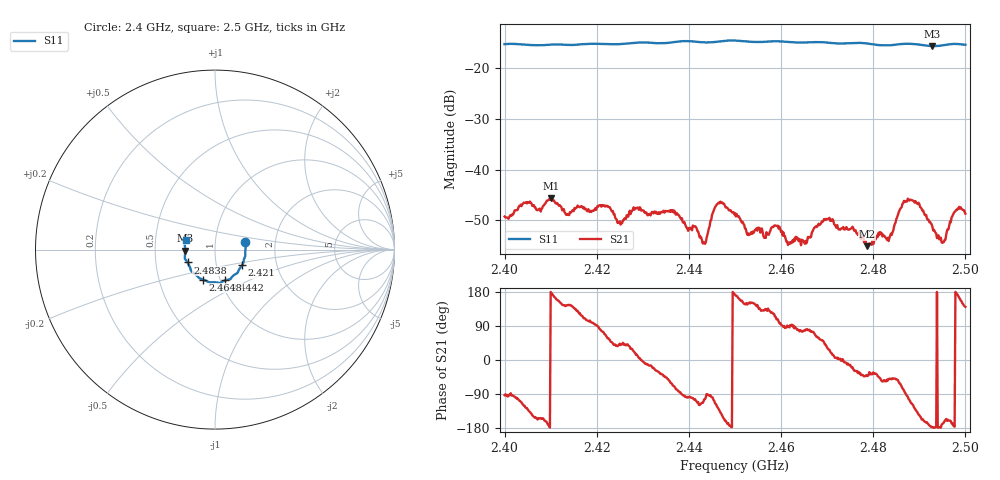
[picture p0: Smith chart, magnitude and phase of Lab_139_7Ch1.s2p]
# Hz S RI R 50
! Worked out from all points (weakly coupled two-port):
!   601 points, 2.4 GHz to 2.5 GHz, reference 50 ohm
!   highest |S21| = -45.67 dB at 2.41 GHz (marker M1); lowest = -55.2 dB at 2.4787 GHz (marker M2)
!   lowest |S11| = -15.6 dB at 2.4928 GHz (marker M3), VSWR 1.40, Z = 35.8 - j0.377 ohm
!   |S11| at or under -10 dB: start of sweep to end of sweep
!   S12 and S22 are empty: the file has one direction only
!   S11 on the Smith chart (normalised r, x): 2.4 GHz: 1.40, +0.12; 2.421 GHz: 1.33, -0.24; 2.4442 GHz: 1.05, -0.37; 2.4648 GHz: 0.83, -0.29; 2.4838 GHz: 0.73, -0.11; 2.5 GHz: 0.72, +0.08
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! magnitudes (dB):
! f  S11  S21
! 2.4 GHz  -15.2  -49.3
! 2.41 GHz  -15.3  -45.7
! 2.4167 GHz  -15.2  -47.2
! 2.421 GHz  -15.2  -47.4
! 2.425 GHz  -15.2  -50.2
! 2.4333 GHz  -15.1  -48.8
! 2.4432 GHz  -14.9  -54.3
! 2.4442 GHz  -14.9  -52.3
! 2.4465 GHz  -14.7  -46.5
! 2.45 GHz  -14.5  -48.6
! 2.453 GHz  -14.7  -53.0
! 2.4648 GHz  -14.9  -54.1
! 2.4667 GHz  -14.8  -52.5
! 2.4707 GHz  -15.0  -50.2
! 2.4787 GHz  -15.1  -55.2
! 2.4833 GHz  -15.5  -54.1
! 2.4838 GHz  -15.4  -52.7
! 2.488 GHz  -15.2  -46.0
! 2.4928 GHz  -15.6  -51.3
! 2.4952 GHz  -15.4  -54.4
! 2.4978 GHz  -15.2  -48.2
! 2.5 GHz  -15.3  -48.7
